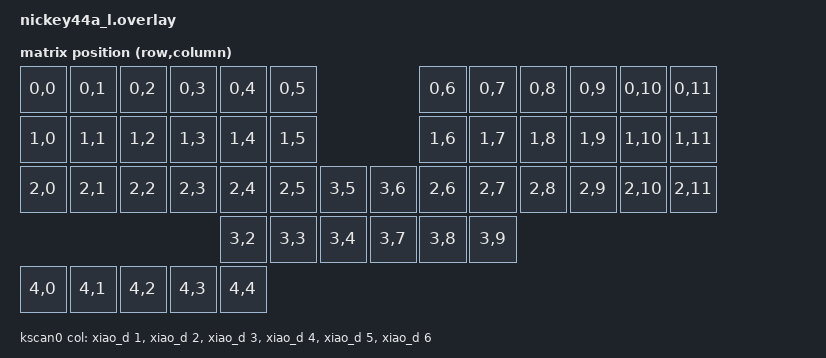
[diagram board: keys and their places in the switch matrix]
#include "nickey44a.dtsi"

&kscan0 {
        col-gpios
            = <&xiao_d 1 GPIO_ACTIVE_HIGH>
            , <&xiao_d 2 GPIO_ACTIVE_HIGH>
            , <&xiao_d 3 GPIO_ACTIVE_HIGH>
            , <&xiao_d 4 GPIO_ACTIVE_HIGH>
            , <&xiao_d 5 GPIO_ACTIVE_HIGH>
            , <&xiao_d 6 GPIO_ACTIVE_HIGH>
            ;
};

/ {
    kscan1: kscan1 {
        compatible = "zmk,kscan-4-direction-switch";

        up-gpios    = <&gpio0 9  (GPIO_ACTIVE_LOW | GPIO_PULL_UP)>;
        down-gpios  = <&gpio0 10 (GPIO_ACTIVE_LOW | GPIO_PULL_UP)>;
        left-gpios  = <&gpio0 9  (GPIO_ACTIVE_LOW | GPIO_PULL_UP)>,
                      <&gpio0 10 (GPIO_ACTIVE_LOW | GPIO_PULL_UP)>;
        right-gpios = <&gpio0 16 (GPIO_ACTIVE_LOW | GPIO_PULL_UP)>;
        push-gpios  = <&gpio1 10 (GPIO_ACTIVE_LOW | GPIO_PULL_UP)>;
    };

    kscan2: kscan2 {
        compatible = "zmk,kscan-composite";
        rows = <5>;
        columns = <6>;

        matrix {
            kscan = <&kscan0>;
        };

        four_direction {
            kscan = <&kscan1>;
            row-offset = <4>;
        };
    };
};

&physical_layout0 {
    kscan = <&kscan2>;
};

&default_transform {
    rows = <5>;
    map = <
        RC(0,0) RC(0,1) RC(0,2) RC(0,3) RC(0,4) RC(0,5)                     RC(0,6) RC(0,7) RC(0,8) RC(0,9) RC(0,10) RC(0,11)
        RC(1,0) RC(1,1) RC(1,2) RC(1,3) RC(1,4) RC(1,5)                     RC(1,6) RC(1,7) RC(1,8) RC(1,9) RC(1,10) RC(1,11)
        RC(2,0) RC(2,1) RC(2,2) RC(2,3) RC(2,4) RC(2,5) RC(3,5)     RC(3,6) RC(2,6) RC(2,7) RC(2,8) RC(2,9) RC(2,10) RC(2,11)
                                        RC(3,2) RC(3,3) RC(3,4)     RC(3,7) RC(3,8) RC(3,9)
        RC(4,0) RC(4,1) RC(4,2) RC(4,3) RC(4,4)
    >;
};

